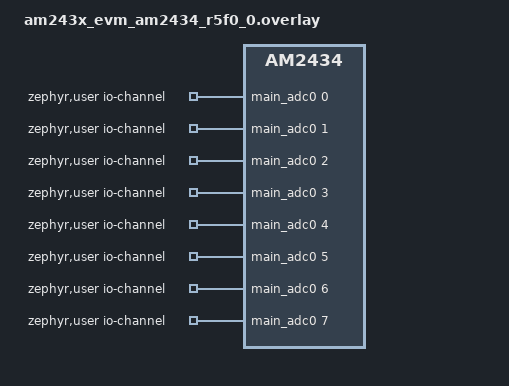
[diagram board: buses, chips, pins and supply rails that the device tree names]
/*
 * SPDX-License-Identifier: Apache-2.0
 *
 * Copyright (c) 2025 Texas Instruments
 */

/ {
	zephyr,user {
		io-channels = <&main_adc0 0>, <&main_adc0 1>, <&main_adc0 2>, <&main_adc0 3>,
			      <&main_adc0 4>, <&main_adc0 5>, <&main_adc0 6>, <&main_adc0 7>;
	};
};
